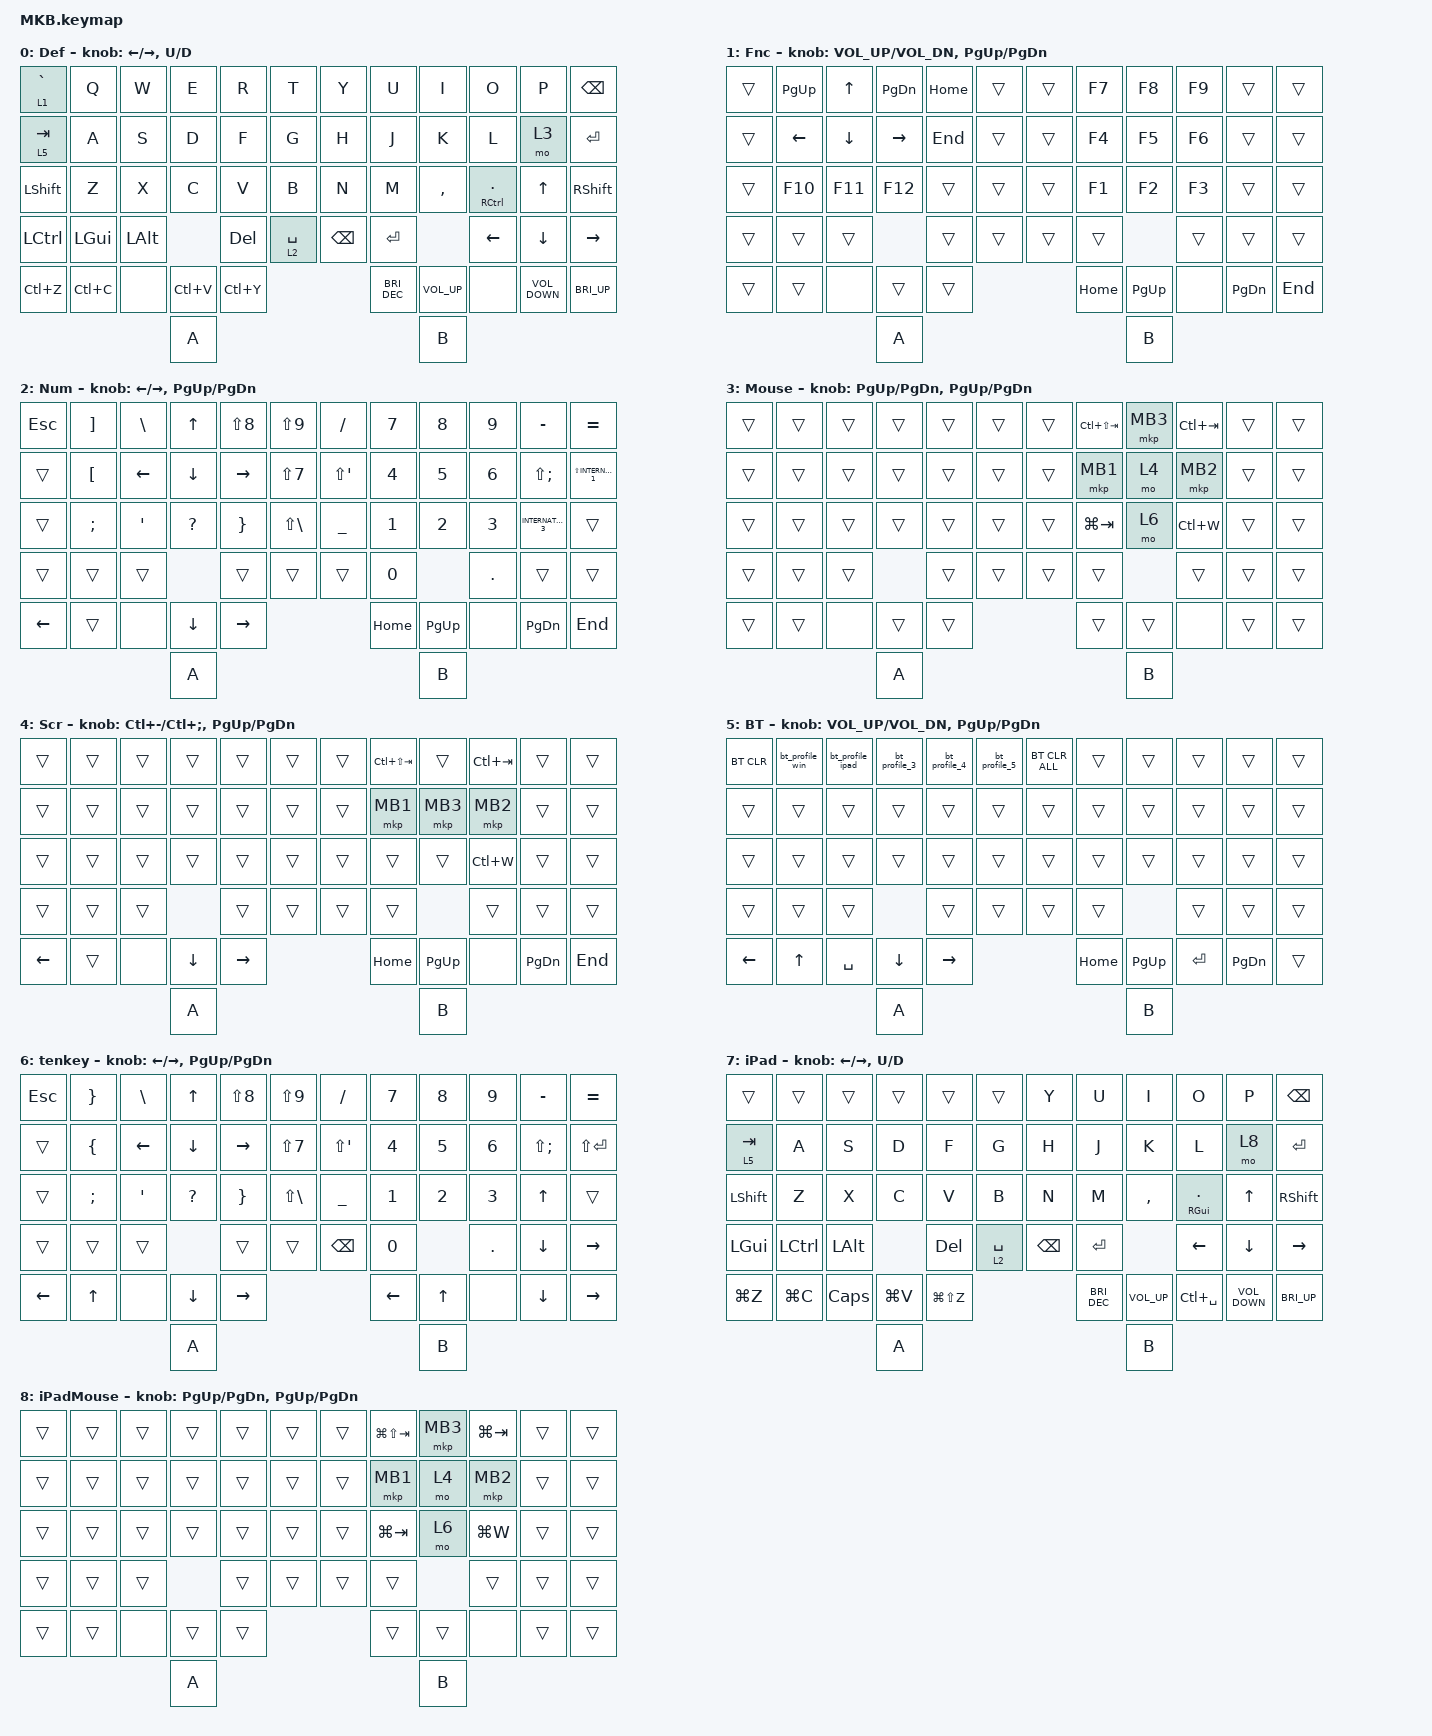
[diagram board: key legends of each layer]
// #include <layout_shift.dtsi>

#include <layout_shift_kp_override.dtsi>
#include <behaviors.dtsi>
#include <dt-bindings/zmk/bt.h>
#include <dt-bindings/zmk/keys.h>
#include <dt-bindings/zmk/pointing.h>

#define DEF 0
#define FUNC 1
#define NUM 2
#define MOUSE 3
#define SCROLL 4
#define BT 5
#define IPAD 7
#define IPAD_MOUSE 8

&mt {
    flavor = "balanced";
    tapping-term-ms = <280>;
    quick-tap-ms = <175>;
    require-prior-idle-ms = <150>;
};

/ {
    combos {
        compatible = "zmk,combos";

        muhen {
            bindings = <&kp INT_MUHENKAN>;
            key-positions = <15 14>;
            layers = <0>;
        };

        hen {
            bindings = <&kp INT_HENKAN>;
            key-positions = <20 21>;
            layers = <0>;
        };

        suusiki {
            bindings = <&suusikiword>;
            key-positions = <19 21>;
            layers = <0>;
        };

        mouselayer {
            bindings = <&kp MINUS>;
            key-positions = <22 21>;
        };

        zutto-numlayer {
            bindings = <&tog 6>;
            key-positions = <7 8 9>;
        };

        endhe {
            bindings = <&kp END>;
            key-positions = <35 45>;
            layers = <0>;
        };

        homehe {
            bindings = <&kp HOME>;
            key-positions = <43 35>;
            layers = <0>;
        };
    };

    macros {

        bt_profile_win: bt_profile_win {
            compatible = "zmk,behavior-macro";
            #binding-cells = <0>;
            bindings = <&bt BT_SEL 0 &to 0>;
        };
        bt_profile_ipad: bt_profile_ipad {
            compatible = "zmk,behavior-macro";
            #binding-cells = <0>;
            bindings = <&bt BT_SEL 1 &to 7>;
        };
        bt_profile_3: bt_profile_3 {
            compatible = "zmk,behavior-macro";
            #binding-cells = <0>;
            bindings = <&bt BT_SEL 2 &to 0>;
        };
        bt_profile_4: bt_profile_4 {
            compatible = "zmk,behavior-macro";
            #binding-cells = <0>;
            bindings = <&bt BT_SEL 3 &to 0>;
        };
        bt_profile_5: bt_profile_5 {
            compatible = "zmk,behavior-macro";
            #binding-cells = <0>;
            bindings = <&bt BT_SEL 4 &to 0>;
        };
        suusikiword: suusikiword {
            compatible = "zmk,behavior-macro";
            #binding-cells = <0>;
            bindings = <&kp INT_MUHENKAN &kp LA(LS(MINUS)) &kp SPACE &kp SPACE &kp LEFT>;
            label = "SUUSIKIWORD";
        };
    };

    behaviors {
        hln: hln {
            compatible = "zmk,behavior-hold-tap";
            label = "HLN";
            bindings = <&mo>, <&none>;

            #binding-cells = <2>;
            tapping-term-ms = <10>;
        };

        td_l3_minus: td_l3_minus {
            compatible = "zmk,behavior-tap-dance";
            label = "TD_L3_MINUS";
            #binding-cells = <0>;
            bindings = <&hln 3 0>, <&kp MINUS>;

            tapping-term-ms = <350>;
        };
    };

    keymap {
        compatible = "zmk,keymap";

        default_layer {
            label = "Def";
            bindings = <
&lt 1 GRAVE  &kp Q      &kp W     &kp E      &kp R      &kp T            &kp Y          &kp U          &kp I            &kp O          &kp P              &kp BACKSPACE
&lt 5 TAB    &kp A      &kp S     &kp D      &kp F      &kp G            &kp H          &kp J          &kp K            &kp L          &mo 3              &kp ENTER
&kp LSHFT    &kp Z      &kp X     &kp C      &kp V      &kp B            &kp N          &kp M          &kp COMMA        &mt RCTRL DOT  &kp UP             &kp RIGHT_SHIFT
&kp LCTRL    &kp LGUI   &kp LALT             &kp DEL    &lt 2 SPACE      &kp BACKSPACE  &kp ENTER                       &kp LEFT       &kp DOWN           &kp RIGHT
&kp LC(Z)    &kp LC(C)  &none     &kp LC(V)  &kp LC(Y)                                  &kp C_BRI_DEC  &kp C_VOLUME_UP  &none          &kp C_VOLUME_DOWN  &kp C_BRI_UP
                                  &kp A                                                                &kp B
            >;

            sensor-bindings = <&inc_dec_kp LEFT RIGHT_ARROW>, <&inc_dec_kp U D>;
        };

        function_layer {
            label = "Fnc";
            bindings = <
&trans  &kp PG_UP  &kp UP    &kp PG_DN  &kp HOME  &trans      &trans  &kp F7    &kp F8     &kp F9  &trans     &trans
&trans  &kp LEFT   &kp DOWN  &kp RIGHT  &kp END   &trans      &trans  &kp F4    &kp F5     &kp F6  &trans     &trans
&trans  &kp F10    &kp F11   &kp F12    &trans    &trans      &trans  &kp F1    &kp F2     &kp F3  &trans     &trans
&trans  &trans     &trans               &trans    &trans      &trans  &trans               &trans  &trans     &trans
&trans  &trans     &none     &trans     &trans                        &kp HOME  &kp PG_UP  &none   &kp PG_DN  &kp END
                             &kp A                                              &kp B
            >;

            sensor-bindings = <&inc_dec_kp C_VOL_UP C_VOL_DN &inc_dec_kp PG_UP PG_DN>;
        };

        num_layer {
            label = "Num";
            bindings = <
&kp ESCAPE  &kp RBKT       &kp BACKSLASH  &kp UP_ARROW    &kp LS(N8)       &kp LS(N9)             &kp SLASH     &kp N7        &kp N8        &kp N9        &kp MINUS            &kp EQUAL
&trans      &kp LBKT       &kp LEFT       &kp DOWN_ARROW  &kp RIGHT_ARROW  &kp LS(N7)             &kp LS(APOS)  &kp NUMBER_4  &kp N5        &kp NUMBER_6  &kp LS(SEMI)         &kp LS(INTERNATIONAL_1)
&trans      &kp SEMICOLON  &kp SQT        &kp QUESTION    &kp RIGHT_BRACE  &kp LS(BACKSLASH)      &kp UNDER     &kp NUMBER_1  &kp NUMBER_2  &kp NUMBER_3  &kp INTERNATIONAL_3  &trans
&trans      &trans         &trans                         &trans           &trans                 &trans        &kp N0                      &kp PERIOD    &trans               &trans
&kp LEFT    &trans         &none          &kp DOWN        &kp RIGHT                                             &kp HOME      &kp PG_UP     &none         &kp PG_DN            &kp END
                                          &kp A                                                                               &kp B
            >;

            sensor-bindings =
                <&inc_dec_kp LEFT RIGHT_ARROW>,
                <&inc_dec_kp PG_UP PG_DN>;
        };

        mouse_layer {
            label = "Mouse";
            bindings = <
&trans  &trans  &trans  &trans  &trans  &trans      &trans  &kp LC(LS(TAB))  &mkp MB3  &kp LC(TAB)  &trans  &trans
&trans  &trans  &trans  &trans  &trans  &trans      &trans  &mkp MB1         &mo 4     &mkp MB2     &trans  &trans
&trans  &trans  &trans  &trans  &trans  &trans      &trans  &kp LG(TAB)      &mo 6     &kp LC(W)    &trans  &trans
&trans  &trans  &trans          &trans  &trans      &trans  &trans                     &trans       &trans  &trans
&trans  &trans  &none   &trans  &trans                      &trans           &trans    &none        &trans  &trans
                        &kp A                                                &kp B
            >;

            sensor-bindings =
                <&inc_dec_kp PG_UP PAGE_DOWN>,
                <&inc_dec_kp PG_UP PG_DN>;
        };

        scroll_layer {
            label = "Scr";
            bindings = <
&trans    &trans  &trans  &trans    &trans     &trans      &trans  &kp LC(LS(TAB))  &trans     &kp LC(TAB)  &trans     &trans
&trans    &trans  &trans  &trans    &trans     &trans      &trans  &mkp MB1         &mkp MB3   &mkp MB2     &trans     &trans
&trans    &trans  &trans  &trans    &trans     &trans      &trans  &trans           &trans     &kp LC(W)    &trans     &trans
&trans    &trans  &trans            &trans     &trans      &trans  &trans                      &trans       &trans     &trans
&kp LEFT  &trans  &none   &kp DOWN  &kp RIGHT                      &kp HOME         &kp PG_UP  &none        &kp PG_DN  &kp END
                          &kp A                                                     &kp B
            >;

            sensor-bindings =
                <&inc_dec_kp LC(MINUS) LC(SEMICOLON)>,
                <&inc_dec_kp PG_UP PG_DN>;
        };

        bt_layer {
            label = "BT";
            bindings = <
&bt BT_CLR  &bt_profile_win  &bt_profile_ipad  &bt_profile_3  &bt_profile_4  &bt_profile_5      &bt BT_CLR_ALL  &trans    &trans     &trans     &trans     &trans
&trans      &trans        &trans        &trans        &trans        &trans            &trans          &trans    &trans     &trans     &trans     &trans
&trans      &trans        &trans        &trans        &trans        &trans            &trans          &trans    &trans     &trans     &trans     &trans
&trans      &trans        &trans                      &trans        &trans            &trans          &trans               &trans     &trans     &trans
&kp LEFT    &kp UP        &kp SPACE     &kp DOWN      &kp RIGHT                                       &kp HOME  &kp PG_UP  &kp ENTER  &kp PG_DN  &trans
                                        &kp A                                                                   &kp B
            >;

            sensor-bindings = <&inc_dec_kp C_VOL_UP C_VOL_DN &inc_dec_kp PG_UP PG_DN>;
        };

        migitenkey {
            label = "tenkey";
            bindings = <
&kp ESCAPE  &kp RIGHT_BRACE  &kp BACKSLASH  &kp UP_ARROW    &kp LS(N8)       &kp LS(N9)             &kp SLASH      &kp N7        &kp N8        &kp N9        &kp MINUS       &kp EQUAL
&trans      &kp LEFT_BRACE   &kp LEFT       &kp DOWN_ARROW  &kp RIGHT_ARROW  &kp LS(N7)             &kp LS(APOS)   &kp NUMBER_4  &kp N5        &kp NUMBER_6  &kp LS(SEMI)    &kp LS(ENTER)
&trans      &kp SEMICOLON    &kp SQT        &kp QUESTION    &kp RIGHT_BRACE  &kp LS(BACKSLASH)      &kp UNDER      &kp NUMBER_1  &kp NUMBER_2  &kp NUMBER_3  &kp UP_ARROW    &trans
&trans      &trans           &trans                         &trans           &trans                 &kp BACKSPACE  &kp N0                      &kp PERIOD    &kp DOWN_ARROW  &kp RIGHT
&kp LEFT    &kp UP_ARROW     &none          &kp DOWN        &kp RIGHT                                              &kp LEFT      &kp UP_ARROW  &none         &kp DOWN        &kp RIGHT
                                            &kp A                                                                                &kp B
            >;

            sensor-bindings =
                <&inc_dec_kp LEFT RIGHT_ARROW>,
                <&inc_dec_kp PG_UP PG_DN>;
        };

        // Layer 7: iPad-specific overrides; other keys inherit existing layout.
        ipad_layer {
            label = "iPad";
            bindings = <
&trans  &trans  &trans  &trans  &trans  &trans            &kp Y          &kp U          &kp I            &kp O          &kp P              &kp BACKSPACE
&lt 5 TAB    &kp A      &kp S     &kp D      &kp F      &kp G            &kp H          &kp J          &kp K            &kp L          &mo 8              &kp ENTER
&kp LSHFT    &kp Z      &kp X     &kp C      &kp V      &kp B            &kp N          &kp M          &kp COMMA        &mt RGUI DOT  &kp UP             &kp RIGHT_SHIFT
&kp LGUI    &kp LCTRL   &kp LALT             &kp DEL    &lt 2 SPACE      &kp BACKSPACE  &kp ENTER                       &kp LEFT       &kp DOWN           &kp RIGHT
&kp LG(Z)    &kp LG(C)  &kp CAPS  &kp LG(V)  &kp LG(LS(Z))                                  &kp C_BRI_DEC  &kp C_VOLUME_UP  &kp LC(SPACE)  &kp C_VOLUME_DOWN  &kp C_BRI_UP
                                  &kp A                                                                &kp B
            >;

            sensor-bindings = <&inc_dec_kp LEFT RIGHT_ARROW>, <&inc_dec_kp U D>;
        };

        // Layer 8: iPad mouse shortcuts (entered from iPad layer).
        ipad_mouse_layer {
            label = "iPadMouse";
            bindings = <
&trans  &trans  &trans  &trans  &trans  &trans      &trans  &kp LG(LS(TAB))  &mkp MB3  &kp LG(TAB)  &trans  &trans
&trans  &trans  &trans  &trans  &trans  &trans      &trans  &mkp MB1         &mo 4     &mkp MB2     &trans  &trans
&trans  &trans  &trans  &trans  &trans  &trans      &trans  &kp LG(TAB)      &mo 6     &kp LG(W)    &trans  &trans
&trans  &trans  &trans          &trans  &trans      &trans  &trans                     &trans       &trans  &trans
&trans  &trans  &none   &trans  &trans                      &trans           &trans    &none        &trans  &trans
                        &kp A                                                &kp B
            >;

            sensor-bindings =
                <&inc_dec_kp PG_UP PAGE_DOWN>,
                <&inc_dec_kp PG_UP PG_DN>;
        };
    };
};
